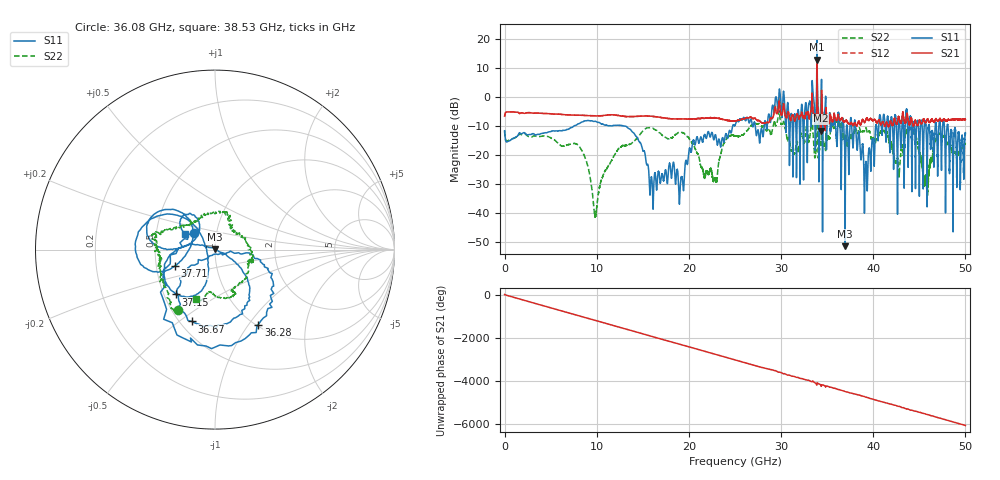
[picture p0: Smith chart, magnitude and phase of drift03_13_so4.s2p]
!Created with skrf (http://scikit-rf.org).
# Hz S RI R 50.0
!freq ReS11 ImS11 ReS21 ImS21 ReS12 ImS12 ReS22 ImS22
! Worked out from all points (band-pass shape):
!   10001 points, 300 kHz to 50 GHz, reference 50 ohm
!   highest |S21| = 12.87 dB at 33.9 GHz (marker M1); lowest = -11.5 dB at 34.32 GHz (marker M2)
!   |S21| within 3 dB of the highest: 33.89046 GHz to 33.90547 GHz (15.01 MHz wide, 0.0443 % of centre)
!   lowest |S11| = -51.3 dB at 36.96 GHz (marker M3), VSWR 1.01, Z = 50 + j0.271 ohm
!   |S11| at or under -10 dB: start of sweep to 7.488 GHz; 13.14 GHz to 24.74 GHz (11.6 GHz wide, 61.3 % of centre); 38.08 GHz to 40.26 GHz (2.177 GHz wide, 5.56 % of centre) (the widest 3 of 53)
!   |S22| runs from -41.3 to 5.2 dB; largest |S21 - S12| = 0.32
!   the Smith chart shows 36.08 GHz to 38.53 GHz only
!   S11 on the Smith chart (normalised r, x): 36.08 GHz: 0.78, +0.15; 36.28 GHz: 1.02, -1.11; 36.67 GHz: 0.58, -0.56; 37.15 GHz: 0.58, -0.32; 37.71 GHz: 0.62, -0.12; 38.53 GHz: 0.71, +0.13
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300000  -0.2361 -0.1198  0.4665 0.0786  0.464 0.0787  -0.2335 -0.1255
1.440291e9  0.2099 0.0644  -0.5479 -0.0294  -0.5479 -0.0289  0.2107 -0.00439
2.915283e9  -0.2115 -0.0883  0.5337 0.0515  0.5347 0.0514  -0.2028 0.0403
8.33525e9  0.2885 -0.2336  0.1468 0.4654  0.1469 0.4656  -0.073 -0.1004
9.855241e9  -0.3609 0.1348  -0.1581 -0.4486  -0.1581 -0.4489  0.00884 0.00224
1.66702e10  0.0274 0.044  -0.3766 0.2547  -0.3777 0.2545  -0.1265 -0.2183
2.500015e10  -0.3264 -0.0139  -0.2566 -0.2944  -0.2545 -0.2971  -0.2131 0.0269
2.895013e10  -0.3192 0.421  -0.2894 0.3249  -0.3017 0.2884  0.0621 0.2175
3.006512e10  0.3964 0.2639  0.4476 -0.1987  0.4516 -0.1849  0.1711 -0.298
3.171011e10  -0.0892 0.1868  -0.358 0.3576  -0.3578 0.3569  0.066 0.158
3.33351e10  0.5982 -0.8323  0.2319 -0.8402  0.2337 -0.8168  -0.1949 -0.41
3.39001e10  3.15 -8.608  -4.05 -1.719  -3.942 -1.413  -0.5772 1.701
3.432009e10  -0.7791 0.000759  -0.1794 0.1966  -0.2399 0.178  0.1429 -0.0702
3.608008e10  -0.1145 0.0949  0.2636 -0.3198  0.2723 -0.312  -0.2081 -0.3391
3.627508e10  0.2412 -0.4179  0.1537 -0.4108  0.1597 -0.3939  -0.2964 -0.1374
3.666508e10  -0.1273 -0.4003  -0.2328 -0.3614  -0.2428 -0.3782  -0.2372 0.1111
3.696008e10  -0.000313 0.00271  -0.3695 -0.11  -0.3667 -0.1132  -0.00912 0.208
3.715008e10  -0.2176 -0.2496  -0.3896 -0.00664  -0.3836 -0.00612  0.0974 0.1314
3.771007e10  -0.2248 -0.0917  -0.1473 0.3123  -0.147 0.2988  0.1853 -0.1234
3.852507e10  -0.1661 0.088  0.3011 0.1748  0.3107 0.1813  -0.1056 -0.2733
4.167005e10  -0.1912 0.3011  0.3122 0.00451  0.3135 0.00954  -0.1886 -0.00666
5e10  -0.1286 -0.1979  0.1509 0.3843  0.1469 0.3832  -0.057 -0.1453
